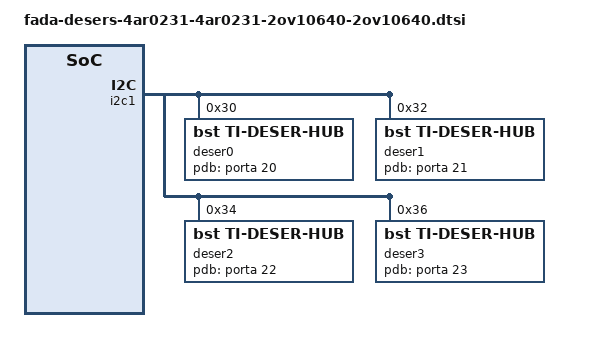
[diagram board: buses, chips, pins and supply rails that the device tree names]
&i2c1 {
    #address-cells = <1>;
    #size-cells = <0>;

    deser0: ti960@30 {
        compatible = "bst,ti-deser-hub";
        type = "ti960";
        ctl-mode = "fad-ctl";
        reg = <0x30>;
        i2c-port = <1>;
        csi2-port = <0>;
        lane-speed = <1600>;
        trigger-mode = <1>;                 /*0:default,1:internal,2:external*/
        trigger-fps = <22>;
        trigger-tx-gpio = <1>;
        trigger-rx-gpio = <1>;
        pdb-gpio = <&porta 20 0>;
    };

    deser1: ti960@32 {
        compatible = "bst,ti-deser-hub";
        type = "ti960";
        ctl-mode = "fad-ctl";
        reg = <0x32>;
        i2c-port = <1>;
        csi2-port = <0>;
        lane-speed = <1600>;
        trigger-mode = <1>;                 /*0:default,1:internal,2:external*/
        trigger-fps = <22>;
        trigger-tx-gpio = <1>;
        trigger-rx-gpio = <1>;
        pdb-gpio = <&porta 21 0>;
    };

    deser2: ti960@34 {
        compatible = "bst,ti-deser-hub";
        type = "ti960";
        ctl-mode = "fad-ctl";
        reg = <0x34>;
        i2c-port = <1>;
        csi2-port = <0>;
        lane-speed = <1600>;
        pdb-gpio = <&porta 22 0>;
    };

    deser3: ti960@36 {
        compatible = "bst,ti-deser-hub";
        type = "ti960";
        ctl-mode = "fad-ctl";
        reg = <0x36>;
        i2c-port = <1>;
        csi2-port = <0>;
        lane-speed = <1600>;
        pdb-gpio = <&porta 23 0>;
    };
};

#include "../common/a1000b-deser-2x2.dtsi"
